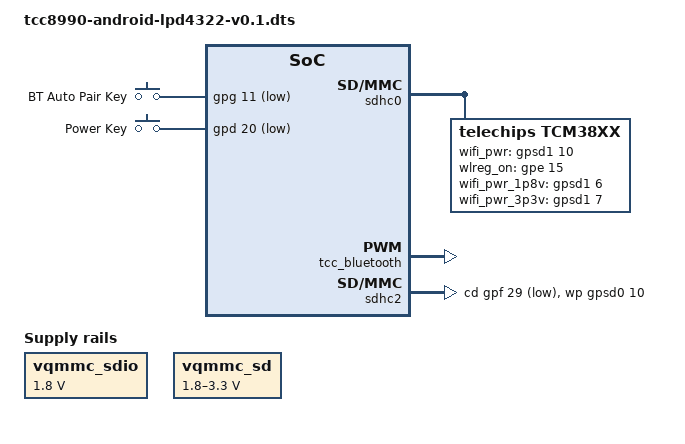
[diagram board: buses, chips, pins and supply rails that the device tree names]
// SPDX-License-Identifier: (GPL-2.0+ OR MIT)
/*
 * Device tree for Telechips TCC8990 STB board
 *
 * Copyright (C) 2018 Telechips Inc.
 */

#ifndef DT_OVERLAY
/dts-v1/;
#include "tcc8990.dtsi"
#endif

#include "tcc8990-android-stb.dtsi"

&vqmmc_sdio {
	compatible = "regulator-fixed";
	regulator-name = "vqmmc_sdio";
	regulator-min-microvolt = <1800000>;
	regulator-max-microvolt = <1800000>;
	regulator-always-on;
};

&sdhc0 {
	compatible = "telechips,tcc-sdhci";
	tcc-mmc-channel-mux = <1>;
	//non-removable;
	keep-power-in-suspend;
	cap-sdio-irq;

	vqmmc-supply = <&vqmmc_sdio>;

	cd-force-presence-change;

	tcm38xx {
		compatible = "telechips,tcm38xx";
		wifi_pwr-gpio = <&gpsd1 10 0>;
		wlreg_on-gpio = <&gpe 15 0>;
		wifi_pwr_1p8v-gpio = <&gpsd1 6 0>;
		wifi_pwr_3p3v-gpio = <&gpsd1 7 0>;
	};
};

&tcc_bluetooth {
	compatible = "telechips, tcc_bluetooth";
	bt_power-gpio = <&gpsd1 10 0>; /* BTWIFI_VBAT_EN */
	bt_reg_on-gpio = <&gpf 31 0>;
	bt_wake-gpio = <&gpf 30 0>;
	bt_hwake-gpio = <&gpc 21 0>;
	bt_power_1p8v-gpio = <&gpsd1 6 0>;
	bt_power_3p3v-gpio = <&gpsd1 7 0>;
	status = "okay";
};

/* SD Card */
&vqmmc_sd {
	compatible = "regulator-gpio";

	regulator-name = "vqmmc_sd";
	regulator-type = "voltage";
	regulator-min-microvolt = <1800000>;
	regulator-max-microvolt = <3300000>;
	regulator-ramp-delay = <10>;
	regulator-always-on;

	gpios = <&gpa 30 0x4>;
	gpios-states = <0>;
	states = < 1800000 0x0
		3300000 0x1
	>;
};

&sdhc2 {
	broken-cd;
	cd-inverted;
	keep-power-in-suspend;

	wp-gpios = <&gpsd0 10 0>;
	cd-gpios = <&gpf 29 0>;

	vqmmc-supply = <&vqmmc_sd>;
};

&gpio_keys_polled {
        compatible = "gpio-keys-polled";
        #address-cells = <1>;
        #size-cells = <0>;
        poll-interval = <100>;
        autorepeat;
        button@0 {
                label = "BT Auto Pair Key";
                linux,code = <218>;
                gpios = <&gpg 11 1>;
        };
        button@1 {
                label = "Power Key";
                linux,code = <116>;
                gpios = <&gpd 20 1>;
        };
};
